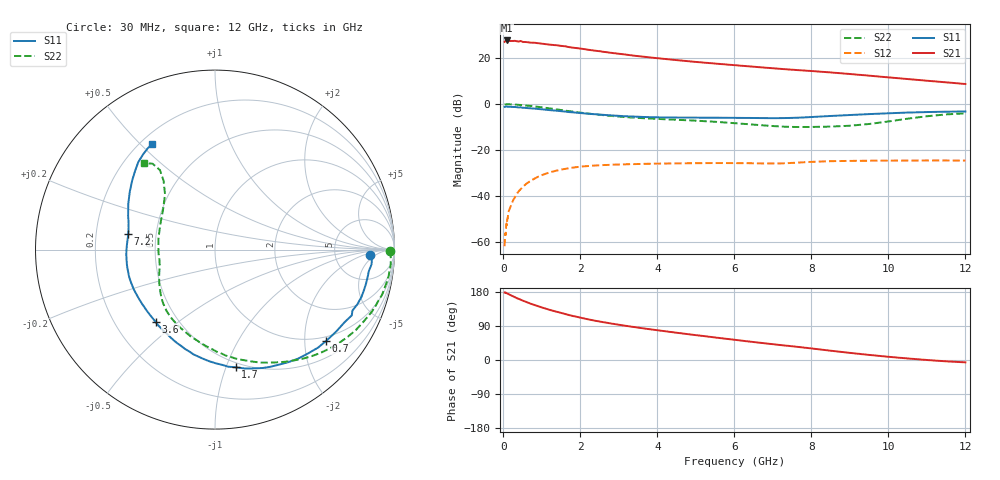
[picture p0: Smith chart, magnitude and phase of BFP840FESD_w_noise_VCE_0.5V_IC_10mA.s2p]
! Infineon Technologies  Discrete & RF Semiconductors
! BFP840FESD
! VCE =  0.5 V,  IC =  10 mA
! Common Emitter S-Parameters:  May 2012
# GHz  S  MA  R  50
!  f  S11  S21  S12  S22
! GHz  MAG  ANG  MAG  ANG  MAG  ANG  MAG  ANG
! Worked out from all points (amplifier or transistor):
!   103 points, 30 MHz to 12 GHz, reference 50 ohm
!   highest |S21| = 27.6 dB at 80 MHz (marker M1)
!   |S21| within 3 dB of that: start of sweep to 1.745 GHz
!   unconditionally stable (mu >= 1): 6.436 GHz to end of sweep
!   at 400 MHz: K = 0.06, MSG = 32.5 dB, |S12| = -37.9 dB
!   at 3.7 GHz: K = 0.55, MSG = 23.3 dB, |S12| = -26.1 dB
!   at 12 GHz: K = 1.28, MAG = 13.5 dB, |S12| = -24.7 dB
!   lowest NFmin = 0.66 dB at 450 MHz
!   S11 on the Smith chart (normalised r, x): 30 MHz: 13, -3; 700 MHz: 0.89, -2.52; 1.7 GHz: 0.46, -1.08; 3.6 GHz: 0.38, -0.42; 7.2 GHz: 0.34, +0.08; 12 GHz: 0.25, +0.54
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0.03  0.8618 -1.9  22.47 177.8  0.0008 97.1  0.9727 -0.5
0.05  0.871 -3.1  23.4 178.5  0.0015 83.0  0.9782 -1.5
0.08  0.8761 -4.8  24.1 176.5  0.0025 80.5  0.981 -3.0
0.13  0.8652 -8.2  23.24 174.0  0.0043 85.0  0.9816 -5.4
0.3  0.8576 -17.9  23.62 165.7  0.0093 79.7  0.9683 -13.0
0.4  0.8378 -23.9  22.78 161.3  0.0127 76.9  0.9537 -17.4
0.45  0.8455 -25.7  23.48 158.9  0.014 75.2  0.9484 -19.3
0.5  0.8274 -29.3  22.41 156.8  0.0156 74.2  0.9398 -21.6
0.7  0.8016 -39.4  21.62 148.8  0.0211 68.2  0.9041 -29.6
0.9  0.7766 -48.2  20.98 142.0  0.026 62.7  0.8638 -37.2
1.2  0.7336 -60.9  19.57 132.4  0.0323 55.2  0.8003 -48.0
1.4  0.7112 -68.1  18.87 126.9  0.0357 50.6  0.7572 -54.7
1.7  0.6654 -80.1  17.27 118.7  0.0399 44.5  0.6968 -64.7
2.1  0.6228 -93.0  15.61 109.5  0.0439 37.6  0.6312 -76.5
2.8  0.5626 -111.9  12.94 96.2  0.0474 29.3  0.5475 -93.5
3.6  0.5216 -129.3  10.77 84.0  0.0494 23.4  0.4911 -108.7
4.1  0.5095 -139.1  9.715 77.2  0.0503 20.8  0.4682 -116.6
6.1  0.4965 -172.0  6.88 52.2  0.0514 14.4  0.3759 -145.0
7.2  0.4911 170.0  5.801 39.4  0.0507 15.6  0.3225 -163.1
8.5  0.5467 152.1  4.851 24.5  0.0567 14.8  0.3211 169.1
10.5  0.6486 131.2  3.484 4.1  0.0585 11.0  0.4779 126.8
12  0.6846 120.6  2.717 -6.2  0.0584 11.4  0.6238 129.5
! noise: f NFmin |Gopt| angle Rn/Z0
0.45  0.66  0.31  5  0.14
0.9  0.68  0.3  11  0.15
1.5  0.7  0.28  16  0.15
1.9  0.7  0.25  27  0.15
2.4  0.71  0.23  35  0.15
3.5  0.73  0.23  57  0.14
5.5  0.79  0.15  102  0.11
8  0.91  0.13  168  0.12
10  1.04  0.24  -135  0.12
12  1.26  0.4  -115  0.14
